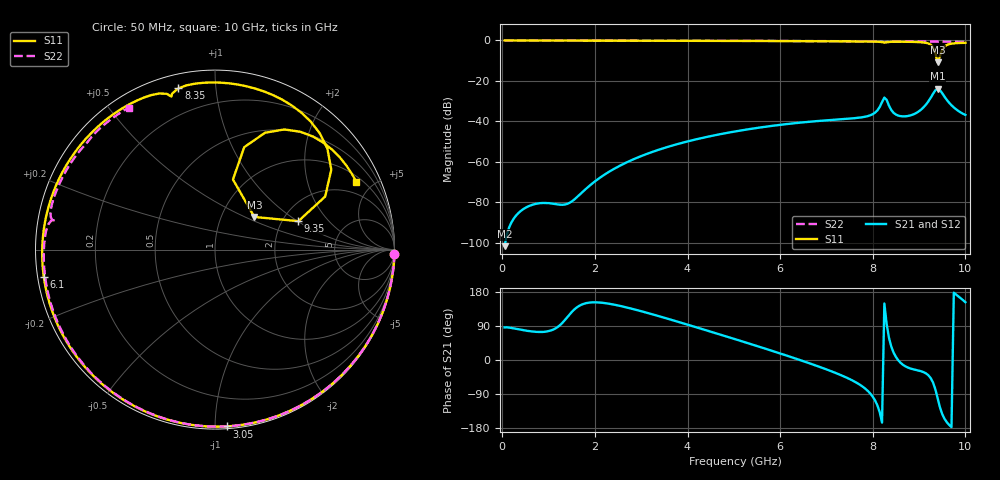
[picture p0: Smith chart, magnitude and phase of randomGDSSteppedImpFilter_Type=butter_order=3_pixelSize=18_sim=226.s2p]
! freq	dB(S11)	phase(S11)	dB(S12)	phase(S12)
!  dB(S21)	phase(S21)	dB(S22)	phase(S22)
!S-par simulation data
#  GHz  S  DB  R 50
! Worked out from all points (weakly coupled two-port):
!   200 points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, 50 MHz to 10 GHz, reference 50 ohm
!   highest |S21| = -23.88 dB at 9.4 GHz (marker M1); lowest = -101.8 dB at 50 MHz (marker M2)
!   lowest |S11| = -10.9 dB at 9.4 GHz (marker M3), VSWR 1.80, Z = 71.5 + j28.3 ohm
!   |S11| at or under -10 dB: 9.390372 GHz to 9.415039 GHz (24.67 MHz wide, 0.262 % of centre)
!   |S22| runs from -0.9 to 0.0 dB; largest |S21 - S12| = 0
!   S11 on the Smith chart (normalised r, x): 50 MHz: 0, -78; 3.05 GHz: 0.01, -1.07; 6.1 GHz: 0.02, -0.08; 8.35 GHz: 0.07, +0.80; 9.35 GHz: 2.43, +1.01; 10 GHz: 1.26, +4.02
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0.05  -0.00 -1.5  -101.81 86.0  -101.81 86.0  -0.00 -1.3
1.45  -0.05 -41.9  -80.39 119.7  -80.39 119.7  -0.05 -36.4
1.75  -0.06 -50.3  -74.62 147.9  -74.62 147.9  -0.06 -43.7
2.3  -0.08 -65.6  -65.06 148.6  -65.06 148.6  -0.07 -56.9
3.05  -0.11 -86.1  -56.77 127.1  -56.77 127.1  -0.10 -74.4
3.4  -0.13 -95.5  -53.92 115.0  -53.92 115.0  -0.11 -82.4
5.05  -0.22 -140.2  -44.94 54.1  -44.94 54.1  -0.18 -118.5
6.1  -0.30 -170.9  -41.49 13.3  -41.49 13.3  -0.25 -141.1
6.7  -0.36 169.5  -40.09 -11.5  -40.09 -11.5  -0.30 -154.1
7.9  -0.53 122.2  -37.39 -82.5  -37.39 -82.5  -0.43 178.1
8.1  -0.62 112.4  -34.60 -119.8  -34.60 -119.8  -0.49 172.8
8.25  -1.05 105.9  -28.29 149.0  -28.29 149.0  -0.87 169.5
8.35  -0.71 102.8  -32.27 58.2  -32.27 58.2  -0.61 168.9
8.55  -0.62 91.1  -37.18 -0.8  -37.18 -0.8  -0.51 163.0
8.85  -0.70 72.8  -36.83 -23.8  -36.83 -23.8  -0.53 154.9
9.1  -1.01 53.2  -33.00 -32.2  -33.00 -32.2  -0.57 147.9
9.25  -2.09 34.5  -28.40 -47.5  -28.40 -47.5  -0.60 143.7
9.35  -6.19 18.8  -24.70 -76.8  -24.70 -76.8  -0.63 141.0
9.4  -10.91 39.7  -23.88 -100.7  -23.88 -100.7  -0.64 139.6
9.45  -7.89 75.6  -24.54 -124.6  -24.54 -124.6  -0.63 138.3
9.6  -2.24 60.0  -29.46 -164.4  -29.46 -164.4  -0.62 133.7
10  -1.18 25.7  -36.86 152.5  -36.86 152.5  -0.67 121.3
